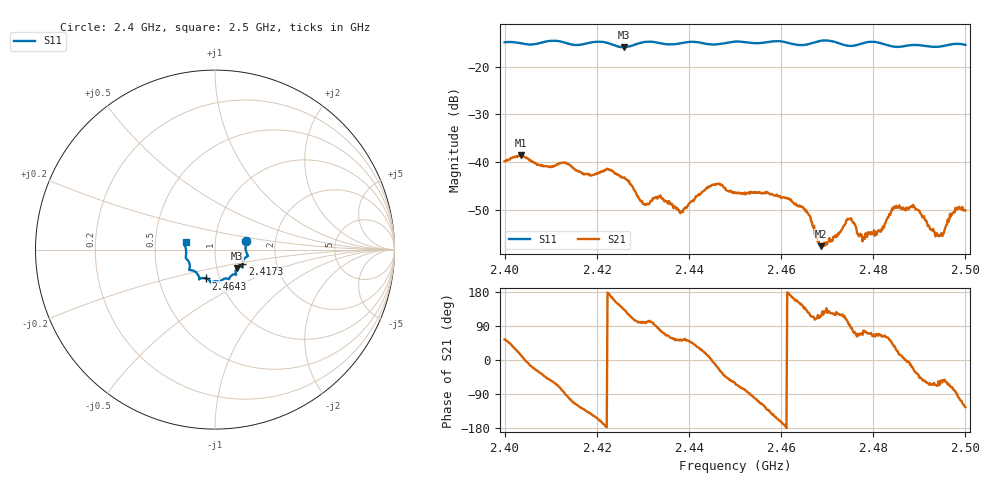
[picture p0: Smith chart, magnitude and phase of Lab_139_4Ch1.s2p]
# Hz S RI R 50
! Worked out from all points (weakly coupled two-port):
!   601 points, 2.4 GHz to 2.5 GHz, reference 50 ohm
!   highest |S21| = -38.60 dB at 2.4035 GHz (marker M1); lowest = -57.6 dB at 2.4687 GHz (marker M2)
!   lowest |S11| = -15.9 dB at 2.4258 GHz (marker M3), VSWR 1.38, Z = 62.3 - j13.2 ohm
!   |S11| at or under -10 dB: start of sweep to end of sweep
!   S12 and S22 are empty: the file has one direction only
!   S11 on the Smith chart (normalised r, x): 2.4 GHz: 1.41, +0.14; 2.4173 GHz: 1.34, -0.23; 2.4643 GHz: 0.86, -0.28; 2.5 GHz: 0.72, +0.06
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2.4e9  0.1735 0.0484  0.00595 0.00828  0 0  0 0
2.4035e9  0.1735 0.0297  0.0115 0.00259  0 0  0 0
2.416667e9  0.153 -0.0747  -0.00459 -0.00625  0 0  0 0
2.417333e9  0.1522 -0.0823  -0.00495 -0.00567  0 0  0 0
2.4225e9  0.1485 -0.0948  -0.0083 0.000582  0 0  0 0
2.425833e9  0.1214 -0.1035  -0.00476 0.00498  0 0  0 0
2.430167e9  0.1175 -0.1371  -0.000584 0.00357  0 0  0 0
2.433333e9  0.1128 -0.1372  0.000489 0.00433  0 0  0 0
2.438167e9  0.0818 -0.1555  0.0017 0.00236  0 0  0 0
2.445167e9  0.054 -0.162  0.00577 -0.000529  0 0  0 0
2.45e9  0.0287 -0.1808  0.00234 -0.00418  0 0  0 0
2.464333e9  -0.05 -0.1604  -0.00285 0.0018  0 0  0 0
2.466667e9  -0.0759 -0.159  -0.000977 0.00216  0 0  0 0
2.468667e9  -0.0873 -0.165  -0.000569 0.00118  0 0  0 0
2.474667e9  -0.1031 -0.1292  -0.000165 0.00252  0 0  0 0
2.478167e9  -0.1363 -0.115  0.000399 0.00151  0 0  0 0
2.481833e9  -0.1412 -0.1038  0.000908 0.00178  0 0  0 0
2.483333e9  -0.1403 -0.0898  0.00142 0.00222  0 0  0 0
2.4885e9  -0.1617 -0.0477  0.00318 -0.00107  0 0  0 0
2.4945e9  -0.1624 0.00418  0.000755 -0.00149  0 0  0 0
2.497833e9  -0.1704 0.0317  0.000402 -0.00328  0 0  0 0
2.5e9  -0.1637 0.0426  -0.00177 -0.00258  0 0  0 0
